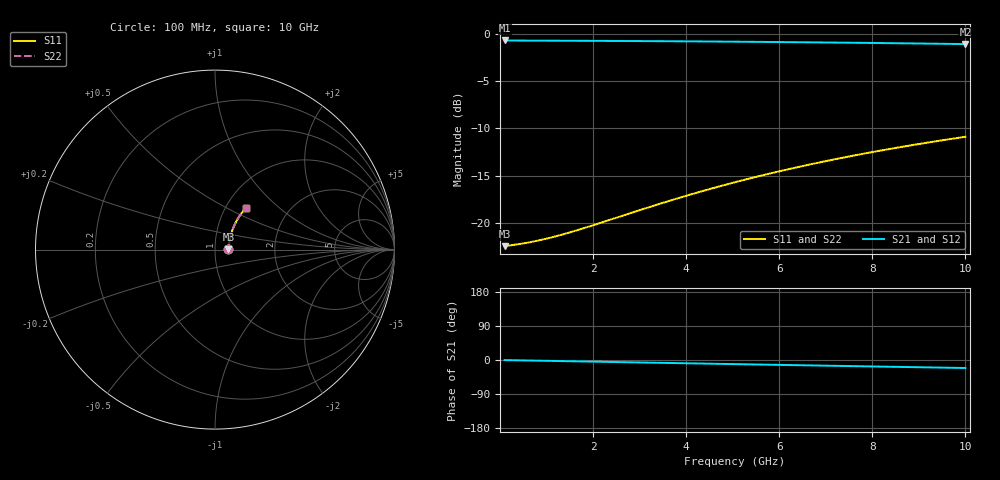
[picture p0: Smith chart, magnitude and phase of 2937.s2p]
# Hz S RI R 50.00
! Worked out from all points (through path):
!   100 points, 100 MHz to 10 GHz, reference 50 ohm
!   highest |S21| = -0.68 dB at 100 MHz (marker M1); lowest = -1.1 dB at 10 GHz (marker M2)
!   group delay of S21, straight-line fit = 5.87 ps
!   lowest |S11| = -22.5 dB at 100 MHz (marker M3), VSWR 1.16, Z = 58.1 + j0.306 ohm
!   |S11| at or under -10 dB: start of sweep to end of sweep
!   |S22| runs from -22.5 to -10.9 dB; largest |S21 - S12| = 0
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1e8  0.0751 0.00262  0.9249 -0.00351  0.9249 -0.00351  0.0751 0.00262
5e8  0.0766 0.013  0.9234 -0.0175  0.9234 -0.0175  0.0766 0.013
7e8  0.0772 0.0182  0.9228 -0.0245  0.9228 -0.0245  0.0772 0.0182
9e8  0.0778 0.0234  0.9222 -0.0314  0.9222 -0.0314  0.0778 0.0234
1.1e9  0.0785 0.0286  0.9215 -0.0384  0.9215 -0.0384  0.0785 0.0286
1.3e9  0.0792 0.0337  0.9208 -0.0453  0.9208 -0.0453  0.0792 0.0337
1.5e9  0.0799 0.0389  0.92 -0.0522  0.92 -0.0522  0.0799 0.0389
1.8e9  0.0811 0.0466  0.9187 -0.0626  0.9187 -0.0626  0.0811 0.0466
2.6e9  0.0851 0.0669  0.9146 -0.09  0.9146 -0.09  0.0851 0.0669
3.4e9  0.0902 0.0868  0.9093 -0.1171  0.9093 -0.1171  0.0902 0.0868
3.9e9  0.0939 0.0991  0.9054 -0.1339  0.9054 -0.1339  0.0939 0.0991
4.3e9  0.0972 0.1088  0.902 -0.1472  0.902 -0.1472  0.0972 0.1088
4.7e9  0.1007 0.1184  0.8983 -0.1603  0.8983 -0.1603  0.1007 0.1184
5.1e9  0.1046 0.1278  0.8943 -0.1733  0.8943 -0.1733  0.1046 0.1278
5.5e9  0.1086 0.1371  0.8901 -0.1862  0.8901 -0.1862  0.1086 0.1371
5.9e9  0.113 0.1462  0.8856 -0.1989  0.8856 -0.1989  0.113 0.1462
6.3e9  0.1175 0.1552  0.8808 -0.2114  0.8808 -0.2114  0.1175 0.1552
6.7e9  0.1224 0.164  0.8757 -0.2238  0.8757 -0.2238  0.1224 0.164
7.5e9  0.1327 0.181  0.8649 -0.248  0.8649 -0.248  0.1327 0.181
8.4e9  0.1453 0.1993  0.8517 -0.2744  0.8517 -0.2744  0.1453 0.1993
9.2e9  0.1574 0.2146  0.839 -0.2969  0.839 -0.2969  0.1574 0.2146
1e10  0.1702 0.2291  0.8256 -0.3187  0.8256 -0.3187  0.1702 0.2291
